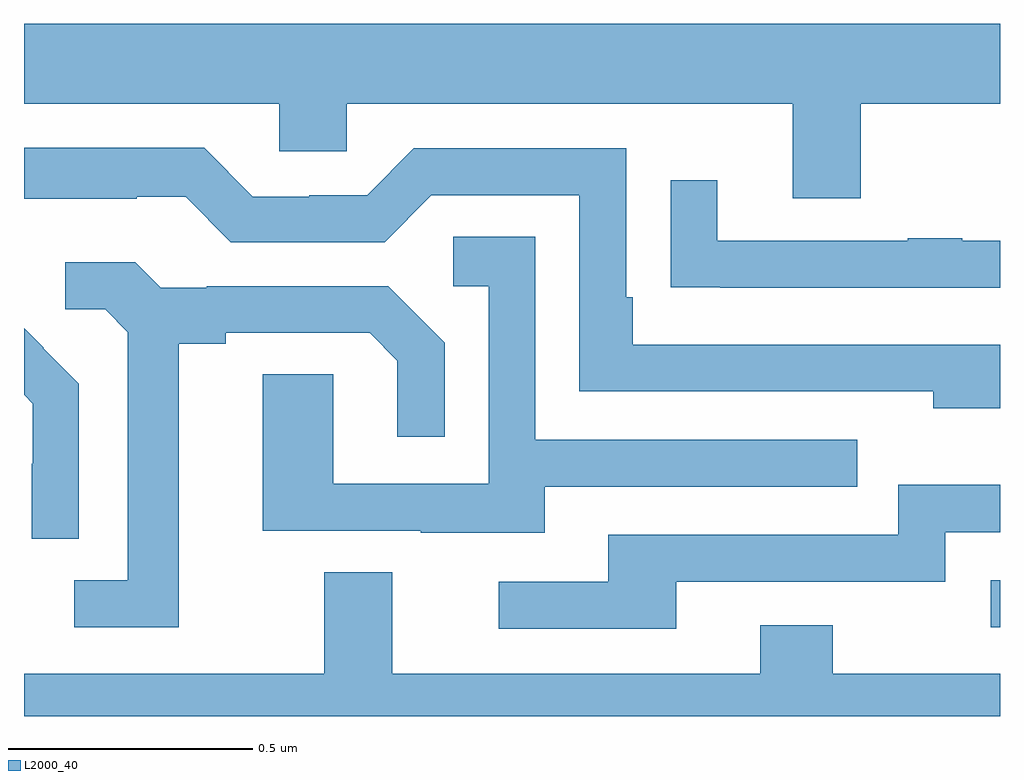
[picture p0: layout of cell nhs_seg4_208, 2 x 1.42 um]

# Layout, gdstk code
import gdstk
lib = gdstk.Library(unit=1e-6, precision=1e-09)
def R(c, l, rs):  # rectangles x0, y0, x1, y1
    for r in rs: c.add(gdstk.rectangle(r[:2], r[2:], *l))
def P(c, l, *ps):  # polygons
    for p in ps: c.add(gdstk.Polygon(p, *l))
L2000_40 = (2000, 40)

nhs_seg4_208 = lib.new_cell('nhs_seg4_208')
R(nhs_seg4_208, L2000_40, [(114.981,793.083,115,793.179)])
P(nhs_seg4_208, L2000_40, [(114.715,794.156),(115,794.156),(115,794.32),(113,794.32),(113,794.156),(113.523,794.156),(113.523,794.058),(113.661,794.058),(113.661,794.156),(114.575,794.156),(114.575,793.962),(114.715,793.962)],
  [(115,793.662),(114.247,793.662),(114.247,793.759),(114.234,793.759),(114.234,794.064),(113.799,794.064),(113.703,793.968),(113.585,793.968),(113.585,793.965),(113.469,793.965),(113.369,794.065),(113,794.065),(113,793.961),(113.231,793.961),(113.231,793.965),(113.331,793.965),(113.424,793.872),(113.739,793.872),(113.835,793.968),(114.138,793.968),(114.138,793.566),(114.863,793.566),(114.863,793.532),(115,793.532)],
  [(115,793.875),(114.923,793.875),(114.923,793.88),(114.811,793.88),(114.811,793.875),(114.421,793.875),(114.421,793.999),(114.325,793.999),(114.325,793.78),(114.427,793.78),(114.427,793.779),(115,793.779)],
  [(114.067,793.371),(114.707,793.371),(114.707,793.467),(114.048,793.467),(114.048,793.883),(113.88,793.883),(113.88,793.782),(113.952,793.782),(113.952,793.377),(113.634,793.377),(113.634,793.601),(113.489,793.601),(113.489,793.281),(113.813,793.281),(113.813,793.277),(114.067,793.277)],
  [(113.317,793.664),(113.413,793.664),(113.413,793.686),(113.708,793.686),(113.765,793.629),(113.765,793.473),(113.862,793.473),(113.862,793.666),(113.746,793.782),(113.374,793.782),(113.374,793.779),(113.28,793.779),(113.228,793.831),(113.085,793.831),(113.085,793.734),(113.166,793.734),(113.213,793.687),(113.213,793.179),(113.103,793.179),(113.103,793.083),(113.317,793.083)],
  [(113.112,793.582),(113.039,793.655),(113.04,793.656),(113,793.696),(113,793.559),(113.018,793.541),(113.018,793.418),(113.016,793.418),(113.016,793.264),(113.112,793.264)],
  [(114.337,793.176),(114.888,793.176),(114.888,793.278),(115,793.278),(115,793.375),(114.792,793.375),(114.792,793.272),(114.197,793.272),(114.197,793.176),(113.973,793.176),(113.973,793.08),(114.337,793.08)],
  [(115,792.988),(114.657,792.988),(114.657,793.087),(114.509,793.087),(114.509,792.988),(113.755,792.988),(113.755,793.196),(113.615,793.196),(113.615,792.988),(113,792.988),(113,792.9),(115,792.9)])

lib.write_gds('nhs_seg4_208.gds')
